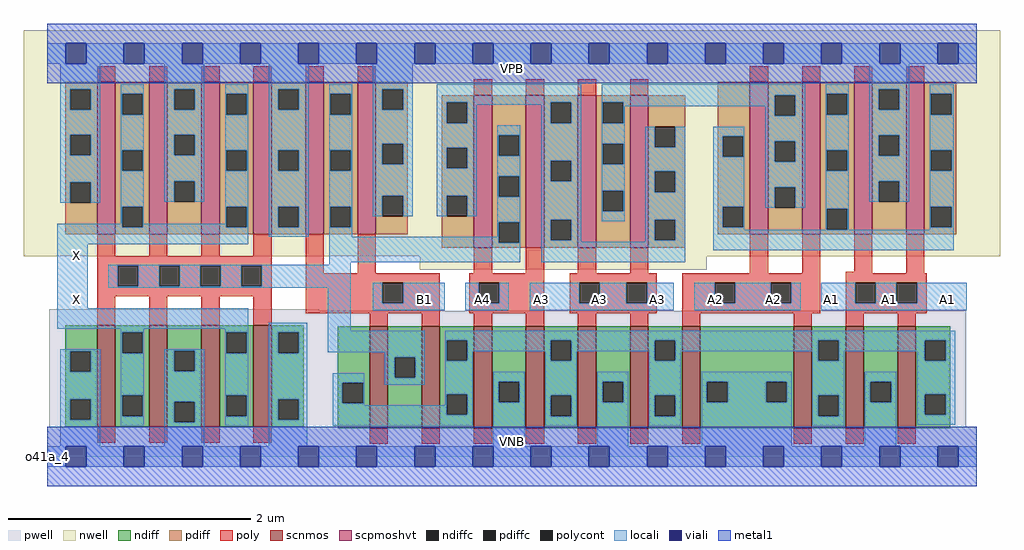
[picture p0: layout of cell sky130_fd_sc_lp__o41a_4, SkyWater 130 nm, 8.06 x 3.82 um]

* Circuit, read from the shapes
.subckt sky130_fd_sc_lp__o41a_4 A1 A2 A3 A4 B1 VGND VNB VPB VPWR X
XM1 X n1 VGND VNB sky130_fd_pr__nfet_01v8 w=0.84 l=0.15 m=4
XM2 n1 B1 n2 VNB sky130_fd_pr__nfet_01v8 w=0.84 l=0.15 m=2
XM3 VGND A4 n2 VNB sky130_fd_pr__nfet_01v8 w=0.84 l=0.15 m=2
XM4 VGND A3 n2 VNB sky130_fd_pr__nfet_01v8 w=0.84 l=0.15 m=2
XM5 VGND A2 n2 VNB sky130_fd_pr__nfet_01v8 w=0.84 l=0.15 m=2
XM6 VGND A1 n2 VNB sky130_fd_pr__nfet_01v8 w=0.84 l=0.15 m=2
XM7 X n1 VPWR VPB sky130_fd_pr__pfet_01v8_hvt w=1.26 l=0.15 m=4
XM8 n1 B1 VPWR VPB sky130_fd_pr__pfet_01v8_hvt w=1.26 l=0.15 m=2
XM9 n1 A4 n3 VPB sky130_fd_pr__pfet_01v8_hvt w=1.26 l=0.15 m=2
XM10 n4 A3 n3 VPB sky130_fd_pr__pfet_01v8_hvt w=1.26 l=0.15 m=2
XM11 n4 A2 n5 VPB sky130_fd_pr__pfet_01v8_hvt w=1.26 l=0.15 m=2
XM12 VPWR A1 n5 VPB sky130_fd_pr__pfet_01v8_hvt w=1.26 l=0.15 m=2
.ends

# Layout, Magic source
magic
tech sky130A
magscale 1 2
<< nwell >>
rect -38 331 1574 704
rect 616 309 1090 331
<< pwell >>
rect 4 241 450 243
rect 4 49 1518 241
rect 0 0 1536 49
<< scnmos >>
rect 83 49 113 217
rect 169 49 199 217
rect 255 49 285 217
rect 341 49 371 217
rect 533 47 563 215
rect 619 47 649 215
rect 705 47 735 215
rect 791 47 821 215
rect 877 47 907 215
rect 963 47 993 215
rect 1049 47 1079 215
rect 1233 47 1263 215
rect 1319 47 1349 215
rect 1405 47 1435 215
<< scpmoshvt >>
rect 83 367 113 619
rect 169 367 199 619
rect 255 367 285 619
rect 341 367 371 619
rect 427 367 457 619
rect 513 367 543 619
rect 705 345 735 597
rect 791 345 821 597
rect 877 345 907 597
rect 963 345 993 597
rect 1161 367 1191 619
rect 1247 367 1277 619
rect 1333 367 1363 619
rect 1419 367 1449 619
<< ndiff >>
rect 30 174 83 217
rect 30 140 38 174
rect 72 140 83 174
rect 30 95 83 140
rect 30 61 38 95
rect 72 61 83 95
rect 30 49 83 61
rect 113 205 169 217
rect 113 171 124 205
rect 158 171 169 205
rect 113 101 169 171
rect 113 67 124 101
rect 158 67 169 101
rect 113 49 169 67
rect 199 175 255 217
rect 199 141 210 175
rect 244 141 255 175
rect 199 91 255 141
rect 199 57 210 91
rect 244 57 255 91
rect 199 49 255 57
rect 285 205 341 217
rect 285 171 296 205
rect 330 171 341 205
rect 285 101 341 171
rect 285 67 296 101
rect 330 67 341 101
rect 285 49 341 67
rect 371 205 424 217
rect 371 171 382 205
rect 416 171 424 205
rect 371 95 424 171
rect 371 61 382 95
rect 416 61 424 95
rect 371 49 424 61
rect 480 122 533 215
rect 480 88 488 122
rect 522 88 533 122
rect 480 47 533 88
rect 563 164 619 215
rect 563 130 574 164
rect 608 130 619 164
rect 563 47 619 130
rect 649 192 705 215
rect 649 158 660 192
rect 694 158 705 192
rect 649 103 705 158
rect 649 69 660 103
rect 694 69 705 103
rect 649 47 705 69
rect 735 124 791 215
rect 735 90 746 124
rect 780 90 791 124
rect 735 47 791 90
rect 821 192 877 215
rect 821 158 832 192
rect 866 158 877 192
rect 821 101 877 158
rect 821 67 832 101
rect 866 67 877 101
rect 821 47 877 67
rect 907 124 963 215
rect 907 90 918 124
rect 952 90 963 124
rect 907 47 963 90
rect 993 192 1049 215
rect 993 158 1004 192
rect 1038 158 1049 192
rect 993 101 1049 158
rect 993 67 1004 101
rect 1038 67 1049 101
rect 993 47 1049 67
rect 1079 124 1233 215
rect 1079 90 1090 124
rect 1124 90 1188 124
rect 1222 90 1233 124
rect 1079 47 1233 90
rect 1263 192 1319 215
rect 1263 158 1274 192
rect 1308 158 1319 192
rect 1263 101 1319 158
rect 1263 67 1274 101
rect 1308 67 1319 101
rect 1263 47 1319 67
rect 1349 124 1405 215
rect 1349 90 1360 124
rect 1394 90 1405 124
rect 1349 47 1405 90
rect 1435 192 1492 215
rect 1435 158 1450 192
rect 1484 158 1492 192
rect 1435 103 1492 158
rect 1435 69 1450 103
rect 1484 69 1492 103
rect 1435 47 1492 69
<< pdiff >>
rect 30 607 83 619
rect 30 573 38 607
rect 72 573 83 607
rect 30 532 83 573
rect 30 498 38 532
rect 72 498 83 532
rect 30 453 83 498
rect 30 419 38 453
rect 72 419 83 453
rect 30 367 83 419
rect 113 599 169 619
rect 113 565 124 599
rect 158 565 169 599
rect 113 506 169 565
rect 113 472 124 506
rect 158 472 169 506
rect 113 413 169 472
rect 113 379 124 413
rect 158 379 169 413
rect 113 367 169 379
rect 199 607 255 619
rect 199 573 210 607
rect 244 573 255 607
rect 199 532 255 573
rect 199 498 210 532
rect 244 498 255 532
rect 199 455 255 498
rect 199 421 210 455
rect 244 421 255 455
rect 199 367 255 421
rect 285 599 341 619
rect 285 565 296 599
rect 330 565 341 599
rect 285 506 341 565
rect 285 472 296 506
rect 330 472 341 506
rect 285 413 341 472
rect 285 379 296 413
rect 330 379 341 413
rect 285 367 341 379
rect 371 607 427 619
rect 371 573 382 607
rect 416 573 427 607
rect 371 506 427 573
rect 371 472 382 506
rect 416 472 427 506
rect 371 413 427 472
rect 371 379 382 413
rect 416 379 427 413
rect 371 367 427 379
rect 457 599 513 619
rect 457 565 468 599
rect 502 565 513 599
rect 457 506 513 565
rect 457 472 468 506
rect 502 472 513 506
rect 457 413 513 472
rect 457 379 468 413
rect 502 379 513 413
rect 457 367 513 379
rect 543 607 596 619
rect 543 573 554 607
rect 588 573 596 607
rect 543 517 596 573
rect 543 483 554 517
rect 588 483 596 517
rect 543 431 596 483
rect 543 397 554 431
rect 588 397 596 431
rect 543 367 596 397
rect 652 585 705 597
rect 652 551 660 585
rect 694 551 705 585
rect 652 510 705 551
rect 652 476 660 510
rect 694 476 705 510
rect 652 431 705 476
rect 652 397 660 431
rect 694 397 705 431
rect 652 345 705 397
rect 735 531 791 597
rect 735 497 746 531
rect 780 497 791 531
rect 735 463 791 497
rect 735 429 746 463
rect 780 429 791 463
rect 735 387 791 429
rect 735 353 746 387
rect 780 353 791 387
rect 735 345 791 353
rect 821 585 877 597
rect 821 551 832 585
rect 866 551 877 585
rect 821 489 877 551
rect 821 455 832 489
rect 866 455 877 489
rect 821 391 877 455
rect 821 357 832 391
rect 866 357 877 391
rect 821 345 877 357
rect 907 585 963 597
rect 907 551 918 585
rect 952 551 963 585
rect 907 517 963 551
rect 907 483 918 517
rect 952 483 963 517
rect 907 439 963 483
rect 907 405 918 439
rect 952 405 963 439
rect 907 345 963 405
rect 993 545 1054 597
rect 993 511 1004 545
rect 1038 511 1054 545
rect 993 471 1054 511
rect 993 437 1004 471
rect 1038 437 1054 471
rect 993 391 1054 437
rect 993 357 1004 391
rect 1038 357 1054 391
rect 1108 529 1161 619
rect 1108 495 1116 529
rect 1150 495 1161 529
rect 1108 413 1161 495
rect 1108 379 1116 413
rect 1150 379 1161 413
rect 1108 367 1161 379
rect 1191 597 1247 619
rect 1191 563 1202 597
rect 1236 563 1247 597
rect 1191 521 1247 563
rect 1191 487 1202 521
rect 1236 487 1247 521
rect 1191 445 1247 487
rect 1191 411 1202 445
rect 1236 411 1247 445
rect 1191 367 1247 411
rect 1277 599 1333 619
rect 1277 565 1288 599
rect 1322 565 1333 599
rect 1277 506 1333 565
rect 1277 472 1288 506
rect 1322 472 1333 506
rect 1277 409 1333 472
rect 1277 375 1288 409
rect 1322 375 1333 409
rect 1277 367 1333 375
rect 1363 607 1419 619
rect 1363 573 1374 607
rect 1408 573 1419 607
rect 1363 531 1419 573
rect 1363 497 1374 531
rect 1408 497 1419 531
rect 1363 455 1419 497
rect 1363 421 1374 455
rect 1408 421 1419 455
rect 1363 367 1419 421
rect 1449 599 1502 619
rect 1449 565 1460 599
rect 1494 565 1502 599
rect 1449 506 1502 565
rect 1449 472 1460 506
rect 1494 472 1502 506
rect 1449 413 1502 472
rect 1449 379 1460 413
rect 1494 379 1502 413
rect 1449 367 1502 379
rect 993 345 1054 357
<< ndiffc >>
rect 38 140 72 174
rect 38 61 72 95
rect 124 171 158 205
rect 124 67 158 101
rect 210 141 244 175
rect 210 57 244 91
rect 296 171 330 205
rect 296 67 330 101
rect 382 171 416 205
rect 382 61 416 95
rect 488 88 522 122
rect 574 130 608 164
rect 660 158 694 192
rect 660 69 694 103
rect 746 90 780 124
rect 832 158 866 192
rect 832 67 866 101
rect 918 90 952 124
rect 1004 158 1038 192
rect 1004 67 1038 101
rect 1090 90 1124 124
rect 1188 90 1222 124
rect 1274 158 1308 192
rect 1274 67 1308 101
rect 1360 90 1394 124
rect 1450 158 1484 192
rect 1450 69 1484 103
<< pdiffc >>
rect 38 573 72 607
rect 38 498 72 532
rect 38 419 72 453
rect 124 565 158 599
rect 124 472 158 506
rect 124 379 158 413
rect 210 573 244 607
rect 210 498 244 532
rect 210 421 244 455
rect 296 565 330 599
rect 296 472 330 506
rect 296 379 330 413
rect 382 573 416 607
rect 382 472 416 506
rect 382 379 416 413
rect 468 565 502 599
rect 468 472 502 506
rect 468 379 502 413
rect 554 573 588 607
rect 554 483 588 517
rect 554 397 588 431
rect 660 551 694 585
rect 660 476 694 510
rect 660 397 694 431
rect 746 497 780 531
rect 746 429 780 463
rect 746 353 780 387
rect 832 551 866 585
rect 832 455 866 489
rect 832 357 866 391
rect 918 551 952 585
rect 918 483 952 517
rect 918 405 952 439
rect 1004 511 1038 545
rect 1004 437 1038 471
rect 1004 357 1038 391
rect 1116 495 1150 529
rect 1116 379 1150 413
rect 1202 563 1236 597
rect 1202 487 1236 521
rect 1202 411 1236 445
rect 1288 565 1322 599
rect 1288 472 1322 506
rect 1288 375 1322 409
rect 1374 573 1408 607
rect 1374 497 1408 531
rect 1374 421 1408 455
rect 1460 565 1494 599
rect 1460 472 1494 506
rect 1460 379 1494 413
<< poly >>
rect 83 619 113 645
rect 169 619 199 645
rect 255 619 285 645
rect 341 619 371 645
rect 427 619 457 645
rect 513 619 543 645
rect 705 597 735 623
rect 791 597 821 623
rect 877 597 907 623
rect 963 597 993 623
rect 1161 619 1191 645
rect 1247 619 1277 645
rect 1333 619 1363 645
rect 1419 619 1449 645
rect 83 331 113 367
rect 169 331 199 367
rect 255 331 285 367
rect 341 331 371 367
rect 83 315 371 331
rect 83 281 117 315
rect 151 281 185 315
rect 219 281 253 315
rect 287 281 321 315
rect 355 281 371 315
rect 83 265 371 281
rect 83 217 113 265
rect 169 217 199 265
rect 255 217 285 265
rect 341 217 371 265
rect 427 303 457 367
rect 513 303 543 367
rect 705 303 735 345
rect 791 303 821 345
rect 877 303 907 345
rect 963 303 993 345
rect 1161 303 1191 367
rect 1247 303 1277 367
rect 1333 305 1363 367
rect 427 287 649 303
rect 427 253 554 287
rect 588 253 649 287
rect 427 237 649 253
rect 697 287 821 303
rect 697 253 713 287
rect 747 253 821 287
rect 697 237 821 253
rect 863 287 1007 303
rect 863 253 879 287
rect 913 253 957 287
rect 991 253 1007 287
rect 863 237 1007 253
rect 1049 287 1277 303
rect 1049 253 1103 287
rect 1137 253 1195 287
rect 1229 253 1277 287
rect 1049 237 1277 253
rect 1319 303 1363 305
rect 1419 303 1449 367
rect 1319 287 1453 303
rect 1319 253 1335 287
rect 1369 253 1403 287
rect 1437 253 1453 287
rect 1319 237 1453 253
rect 533 215 563 237
rect 619 215 649 237
rect 705 215 735 237
rect 791 215 821 237
rect 877 215 907 237
rect 963 215 993 237
rect 1049 215 1079 237
rect 1233 215 1263 237
rect 1319 215 1349 237
rect 1405 215 1435 237
rect 83 23 113 49
rect 169 23 199 49
rect 255 23 285 49
rect 341 23 371 49
rect 533 21 563 47
rect 619 21 649 47
rect 705 21 735 47
rect 791 21 821 47
rect 877 21 907 47
rect 963 21 993 47
rect 1049 21 1079 47
rect 1233 21 1263 47
rect 1319 21 1349 47
rect 1405 21 1435 47
<< polycont >>
rect 117 281 151 315
rect 185 281 219 315
rect 253 281 287 315
rect 321 281 355 315
rect 554 253 588 287
rect 713 253 747 287
rect 879 253 913 287
rect 957 253 991 287
rect 1103 253 1137 287
rect 1195 253 1229 287
rect 1335 253 1369 287
rect 1403 253 1437 287
<< locali >>
rect 0 649 31 683
rect 65 649 127 683
rect 161 649 223 683
rect 257 649 319 683
rect 353 649 415 683
rect 449 649 511 683
rect 545 649 607 683
rect 641 649 703 683
rect 737 649 799 683
rect 833 649 895 683
rect 929 649 991 683
rect 1025 649 1087 683
rect 1121 649 1183 683
rect 1217 649 1279 683
rect 1313 649 1375 683
rect 1409 649 1471 683
rect 1505 649 1536 683
rect 22 607 88 649
rect 22 573 38 607
rect 72 573 88 607
rect 22 532 88 573
rect 22 498 38 532
rect 72 498 88 532
rect 22 453 88 498
rect 22 419 38 453
rect 72 419 88 453
rect 122 599 160 615
rect 122 565 124 599
rect 158 565 160 599
rect 122 506 160 565
rect 122 472 124 506
rect 158 472 160 506
rect 122 413 160 472
rect 194 607 260 649
rect 194 573 210 607
rect 244 573 260 607
rect 194 532 260 573
rect 194 498 210 532
rect 244 498 260 532
rect 194 455 260 498
rect 194 421 210 455
rect 244 421 260 455
rect 294 599 332 615
rect 294 565 296 599
rect 330 565 332 599
rect 294 506 332 565
rect 294 472 296 506
rect 330 472 332 506
rect 122 385 124 413
rect 17 379 124 385
rect 158 385 160 413
rect 294 413 332 472
rect 294 385 296 413
rect 158 379 296 385
rect 330 379 332 413
rect 17 351 332 379
rect 366 607 432 649
rect 366 573 382 607
rect 416 573 432 607
rect 366 506 432 573
rect 366 472 382 506
rect 416 472 432 506
rect 366 413 432 472
rect 366 379 382 413
rect 416 379 432 413
rect 366 363 432 379
rect 466 599 504 615
rect 466 565 468 599
rect 502 565 504 599
rect 466 506 504 565
rect 466 472 468 506
rect 502 472 504 506
rect 466 413 504 472
rect 466 379 468 413
rect 502 379 504 413
rect 538 607 604 649
rect 538 573 554 607
rect 588 573 604 607
rect 538 517 604 573
rect 538 483 554 517
rect 588 483 604 517
rect 538 431 604 483
rect 538 397 554 431
rect 588 397 604 431
rect 644 585 882 615
rect 644 551 660 585
rect 694 581 832 585
rect 694 551 710 581
rect 644 510 710 551
rect 816 551 832 581
rect 866 551 882 585
rect 644 476 660 510
rect 694 476 710 510
rect 644 431 710 476
rect 644 397 660 431
rect 694 397 710 431
rect 744 531 782 547
rect 744 497 746 531
rect 780 497 782 531
rect 744 463 782 497
rect 744 429 746 463
rect 780 429 782 463
rect 466 363 504 379
rect 744 387 782 429
rect 744 363 746 387
rect 466 353 746 363
rect 780 353 782 387
rect 17 245 67 351
rect 466 321 782 353
rect 816 489 882 551
rect 816 455 832 489
rect 866 455 882 489
rect 816 391 882 455
rect 816 357 832 391
rect 866 357 882 391
rect 916 597 1252 615
rect 916 585 1202 597
rect 916 551 918 585
rect 952 579 1202 585
rect 952 551 954 579
rect 916 517 954 551
rect 1186 563 1202 579
rect 1236 563 1252 597
rect 916 483 918 517
rect 952 483 954 517
rect 916 439 954 483
rect 916 405 918 439
rect 952 405 954 439
rect 916 389 954 405
rect 988 511 1004 545
rect 1038 511 1054 545
rect 988 471 1054 511
rect 988 437 1004 471
rect 1038 437 1054 471
rect 988 391 1054 437
rect 816 355 882 357
rect 988 357 1004 391
rect 1038 357 1054 391
rect 988 355 1054 357
rect 816 321 1054 355
rect 1100 529 1152 545
rect 1100 495 1116 529
rect 1150 495 1152 529
rect 1100 413 1152 495
rect 1100 379 1116 413
rect 1150 379 1152 413
rect 1186 521 1252 563
rect 1186 487 1202 521
rect 1236 487 1252 521
rect 1186 445 1252 487
rect 1186 411 1202 445
rect 1236 411 1252 445
rect 1286 599 1324 615
rect 1286 565 1288 599
rect 1322 565 1324 599
rect 1286 506 1324 565
rect 1286 472 1288 506
rect 1322 472 1324 506
rect 1100 375 1152 379
rect 1286 409 1324 472
rect 1358 607 1424 649
rect 1358 573 1374 607
rect 1408 573 1424 607
rect 1358 531 1424 573
rect 1358 497 1374 531
rect 1408 497 1424 531
rect 1358 455 1424 497
rect 1358 421 1374 455
rect 1408 421 1424 455
rect 1458 599 1498 615
rect 1458 565 1460 599
rect 1494 565 1498 599
rect 1458 506 1498 565
rect 1458 472 1460 506
rect 1494 472 1498 506
rect 1286 375 1288 409
rect 1322 375 1324 409
rect 1458 413 1498 472
rect 1458 379 1460 413
rect 1494 379 1498 413
rect 1458 375 1498 379
rect 1100 341 1498 375
rect 466 317 502 321
rect 101 315 502 317
rect 101 281 117 315
rect 151 281 185 315
rect 219 281 253 315
rect 287 281 321 315
rect 355 281 502 315
rect 101 279 502 281
rect 17 211 332 245
rect 122 205 160 211
rect 22 174 88 177
rect 22 140 38 174
rect 72 140 88 174
rect 22 95 88 140
rect 22 61 38 95
rect 72 61 88 95
rect 22 17 88 61
rect 122 171 124 205
rect 158 171 160 205
rect 294 205 332 211
rect 122 101 160 171
rect 122 67 124 101
rect 158 67 160 101
rect 122 51 160 67
rect 194 175 260 177
rect 194 141 210 175
rect 244 141 260 175
rect 194 91 260 141
rect 194 57 210 91
rect 244 57 260 91
rect 194 17 260 57
rect 294 171 296 205
rect 330 171 332 205
rect 294 101 332 171
rect 294 67 296 101
rect 330 67 332 101
rect 294 51 332 67
rect 366 205 430 221
rect 366 171 382 205
rect 416 171 430 205
rect 464 208 502 279
rect 538 253 554 287
rect 588 253 657 287
rect 538 242 657 253
rect 691 253 713 287
rect 747 253 763 287
rect 691 242 763 253
rect 797 253 879 287
rect 913 253 957 287
rect 991 253 1035 287
rect 797 242 1035 253
rect 1069 253 1103 287
rect 1137 253 1195 287
rect 1229 253 1245 287
rect 1069 242 1245 253
rect 1279 253 1335 287
rect 1369 253 1403 287
rect 1437 253 1519 287
rect 1279 242 1519 253
rect 464 172 624 208
rect 366 95 430 171
rect 558 164 624 172
rect 366 61 382 95
rect 416 61 430 95
rect 366 17 430 61
rect 472 122 524 138
rect 472 88 488 122
rect 522 88 524 122
rect 558 130 574 164
rect 608 130 624 164
rect 558 119 624 130
rect 658 192 1500 208
rect 658 158 660 192
rect 694 174 832 192
rect 694 158 703 174
rect 472 85 524 88
rect 658 103 703 158
rect 823 158 832 174
rect 866 174 1004 192
rect 866 158 875 174
rect 658 85 660 103
rect 472 69 660 85
rect 694 69 703 103
rect 472 51 703 69
rect 737 124 789 140
rect 737 90 746 124
rect 780 90 789 124
rect 737 17 789 90
rect 823 101 875 158
rect 994 158 1004 174
rect 1038 174 1274 192
rect 1038 158 1047 174
rect 823 67 832 101
rect 866 67 875 101
rect 823 51 875 67
rect 909 124 960 140
rect 909 90 918 124
rect 952 90 960 124
rect 909 17 960 90
rect 994 101 1047 158
rect 1264 158 1274 174
rect 1308 174 1450 192
rect 1308 158 1317 174
rect 994 67 1004 101
rect 1038 67 1047 101
rect 994 51 1047 67
rect 1081 124 1230 140
rect 1081 90 1090 124
rect 1124 90 1188 124
rect 1222 90 1230 124
rect 1081 17 1230 90
rect 1264 101 1317 158
rect 1437 158 1450 174
rect 1484 158 1500 192
rect 1264 67 1274 101
rect 1308 67 1317 101
rect 1264 51 1317 67
rect 1351 124 1403 140
rect 1351 90 1360 124
rect 1394 90 1403 124
rect 1351 17 1403 90
rect 1437 103 1500 158
rect 1437 69 1450 103
rect 1484 69 1500 103
rect 1437 53 1500 69
rect 0 -17 31 17
rect 65 -17 127 17
rect 161 -17 223 17
rect 257 -17 319 17
rect 353 -17 415 17
rect 449 -17 511 17
rect 545 -17 607 17
rect 641 -17 703 17
rect 737 -17 799 17
rect 833 -17 895 17
rect 929 -17 991 17
rect 1025 -17 1087 17
rect 1121 -17 1183 17
rect 1217 -17 1279 17
rect 1313 -17 1375 17
rect 1409 -17 1471 17
rect 1505 -17 1536 17
<< viali >>
rect 31 649 65 683
rect 127 649 161 683
rect 223 649 257 683
rect 319 649 353 683
rect 415 649 449 683
rect 511 649 545 683
rect 607 649 641 683
rect 703 649 737 683
rect 799 649 833 683
rect 895 649 929 683
rect 991 649 1025 683
rect 1087 649 1121 683
rect 1183 649 1217 683
rect 1279 649 1313 683
rect 1375 649 1409 683
rect 1471 649 1505 683
rect 31 -17 65 17
rect 127 -17 161 17
rect 223 -17 257 17
rect 319 -17 353 17
rect 415 -17 449 17
rect 511 -17 545 17
rect 607 -17 641 17
rect 703 -17 737 17
rect 799 -17 833 17
rect 895 -17 929 17
rect 991 -17 1025 17
rect 1087 -17 1121 17
rect 1183 -17 1217 17
rect 1279 -17 1313 17
rect 1375 -17 1409 17
rect 1471 -17 1505 17
<< metal1 >>
rect 0 683 1536 715
rect 0 649 31 683
rect 65 649 127 683
rect 161 649 223 683
rect 257 649 319 683
rect 353 649 415 683
rect 449 649 511 683
rect 545 649 607 683
rect 641 649 703 683
rect 737 649 799 683
rect 833 649 895 683
rect 929 649 991 683
rect 1025 649 1087 683
rect 1121 649 1183 683
rect 1217 649 1279 683
rect 1313 649 1375 683
rect 1409 649 1471 683
rect 1505 649 1536 683
rect 0 617 1536 649
rect 0 17 1536 49
rect 0 -17 31 17
rect 65 -17 127 17
rect 161 -17 223 17
rect 257 -17 319 17
rect 353 -17 415 17
rect 449 -17 511 17
rect 545 -17 607 17
rect 641 -17 703 17
rect 737 -17 799 17
rect 833 -17 895 17
rect 929 -17 991 17
rect 1025 -17 1087 17
rect 1121 -17 1183 17
rect 1217 -17 1279 17
rect 1313 -17 1375 17
rect 1409 -17 1471 17
rect 1505 -17 1536 17
rect 0 -49 1536 -17
<< labels >>
flabel pwell s 0 0 1536 49 0 FreeSans 200 0 0 0 VNB
port 7 nsew ground bidirectional
flabel nwell s 0 617 1536 666 0 FreeSans 200 0 0 0 VPB
port 8 nsew power bidirectional
rlabel comment s 0 0 0 0 4 o41a_4
flabel metal1 s 0 617 1536 666 0 FreeSans 340 0 0 0 VPWR
port 9 nsew power bidirectional
flabel metal1 s 0 0 1536 49 0 FreeSans 340 0 0 0 VGND
port 6 nsew ground bidirectional
flabel locali s 1279 242 1313 276 0 FreeSans 340 0 0 0 A1
port 1 nsew signal input
flabel locali s 1375 242 1409 276 0 FreeSans 340 0 0 0 A1
port 1 nsew signal input
flabel locali s 1471 242 1505 276 0 FreeSans 340 0 0 0 A1
port 1 nsew signal input
flabel locali s 1087 242 1121 276 0 FreeSans 340 0 0 0 A2
port 2 nsew signal input
flabel locali s 1183 242 1217 276 0 FreeSans 340 0 0 0 A2
port 2 nsew signal input
flabel locali s 799 242 833 276 0 FreeSans 340 0 0 0 A3
port 3 nsew signal input
flabel locali s 895 242 929 276 0 FreeSans 340 0 0 0 A3
port 3 nsew signal input
flabel locali s 991 242 1025 276 0 FreeSans 340 0 0 0 A3
port 3 nsew signal input
flabel locali s 703 242 737 276 0 FreeSans 340 0 0 0 A4
port 4 nsew signal input
flabel locali s 607 242 641 276 0 FreeSans 340 0 0 0 B1
port 5 nsew signal input
flabel locali s 31 242 65 276 0 FreeSans 340 0 0 0 X
port 10 nsew signal output
flabel locali s 31 316 65 350 0 FreeSans 340 0 0 0 X
port 10 nsew signal output
<< properties >>
string LEFsite unit
string LEFclass CORE
string FIXED_BBOX 0 0 1536 666
string GDS_FILE $PDKPATH/libs.ref/sky130_fd_sc_lp/gds/sky130_fd_sc_lp.gds
string LEFsymmetry X Y R90
string GDS_END 525976
string GDS_START 512132
<< end >>
